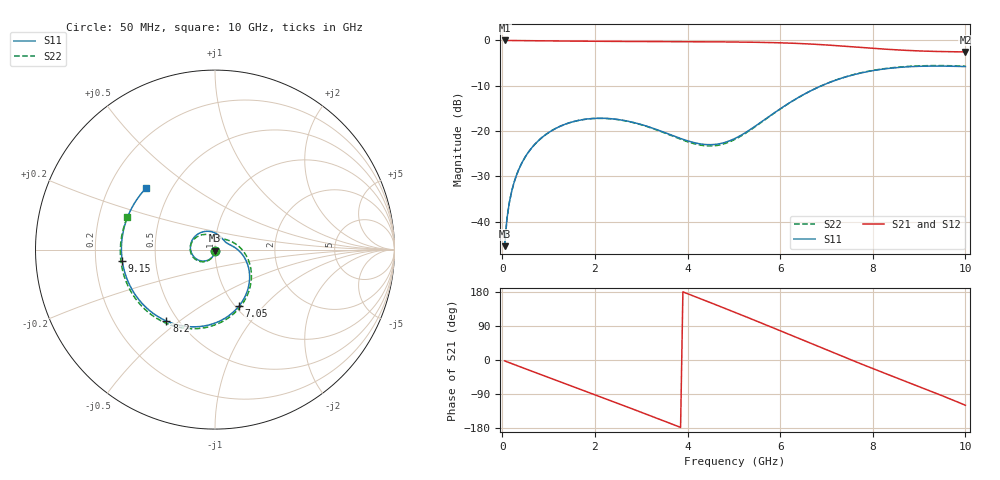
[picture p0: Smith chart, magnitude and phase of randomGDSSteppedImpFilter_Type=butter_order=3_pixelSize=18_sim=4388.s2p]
! freq	dB(S11)	phase(S11)	dB(S12)	phase(S12)
!  dB(S21)	phase(S21)	dB(S22)	phase(S22)
!S-par simulation data
#  GHz  S  DB  R 50
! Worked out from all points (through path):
!   200 points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, 50 MHz to 10 GHz, reference 50 ohm
!   highest |S21| = 0.00 dB at 50 MHz (marker M1); lowest = -2.5 dB at 10 GHz (marker M2)
!   group delay of S21, straight-line fit = 134 ps
!   lowest |S11| = -45.4 dB at 50 MHz (marker M3), VSWR 1.01, Z = 50 - j0.537 ohm
!   |S11| at or under -10 dB: start of sweep to 6.893 GHz
!   |S22| runs from -45.4 to -5.5 dB; largest |S21 - S12| = 0
!   S11 on the Smith chart (normalised r, x): 50 MHz: 1.00, -0.01; 7.05 GHz: 1.04, -0.74; 8.2 GHz: 0.43, -0.45; 9.15 GHz: 0.32, -0.05; 10 GHz: 0.36, +0.34
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0.05  -45.40 -91.9  -0.00 -2.4  -0.00 -2.4  -45.39 -91.7
0.1  -39.38 -94.6  -0.01 -4.7  -0.01 -4.7  -39.38 -94.3
0.2  -33.39 -99.6  -0.02 -9.3  -0.02 -9.3  -33.39 -98.9
0.5  -25.63 -114.3  -0.04 -23.2  -0.04 -23.2  -25.63 -112.6
1  -20.33 -138.6  -0.09 -46.2  -0.09 -46.2  -20.33 -135.1
1.75  -17.45 -175.0  -0.17 -80.4  -0.17 -80.4  -17.46 -168.2
2.55  -17.52 145.4  -0.21 -117.1  -0.21 -117.1  -17.55 157.5
3.4  -19.91 100.6  -0.24 -156.6  -0.24 -156.6  -20.00 122.3
3.8  -21.45 78.4  -0.25 -175.5  -0.25 -175.5  -21.61 105.9
4.2  -22.69 56.6  -0.28 165.5  -0.28 165.5  -22.94 88.7
4.6  -22.94 37.6  -0.31 146.3  -0.31 146.3  -23.22 69.0
5.05  -21.50 20.2  -0.35 124.4  -0.35 124.4  -21.70 43.6
5.45  -19.00 5.6  -0.40 104.8  -0.40 104.8  -19.11 20.4
5.85  -16.15 -10.5  -0.48 84.8  -0.48 84.8  -16.20 -1.9
6.25  -13.46 -28.3  -0.61 64.6  -0.61 64.6  -13.48 -23.3
6.7  -10.91 -49.7  -0.82 41.8  -0.82 41.8  -10.91 -46.5
7.05  -9.33 -66.9  -1.03 24.2  -1.03 24.2  -9.32 -64.1
7.6  -7.53 -94.3  -1.44 -3.1  -1.44 -3.1  -7.50 -90.9
8.2  -6.35 -124.3  -1.88 -32.1  -1.88 -32.1  -6.29 -118.9
8.35  -6.16 -131.8  -1.98 -39.3  -1.98 -39.3  -6.10 -125.7
9.15  -5.67 -173.3  -2.37 -77.4  -2.37 -77.4  -5.57 -161.5
10  -5.77 138.1  -2.53 -119.5  -2.53 -119.5  -5.67 159.9
